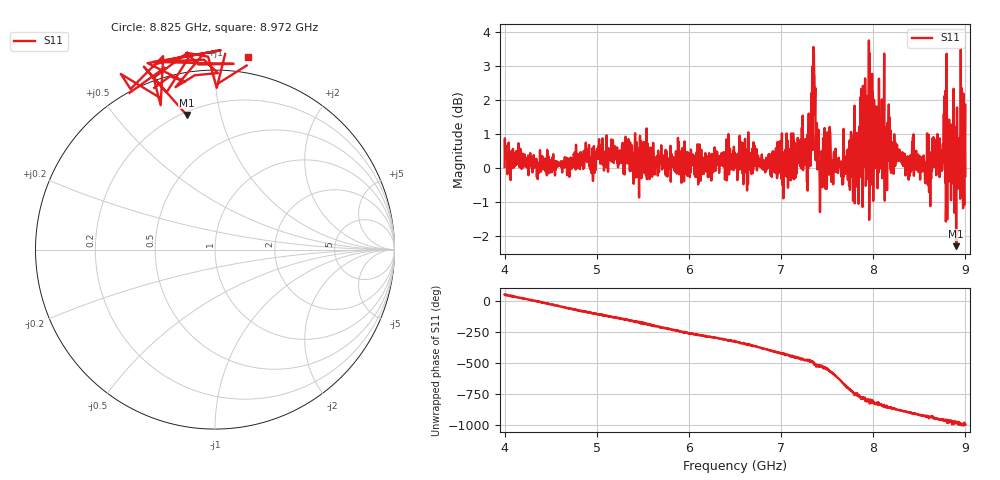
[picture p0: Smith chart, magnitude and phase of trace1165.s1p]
! Created with skrf 1.8.0 (http://scikit-rf.org).
# Hz S RI R 50.0
!freq ReS11 ImS11
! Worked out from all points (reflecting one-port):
!   1601 points, 4 GHz to 9 GHz, reference 50 ohm
!   lowest |S11| = -2.3 dB at 8.9 GHz (marker M1), VSWR 7.59, Z = 10.8 + j39.4 ohm
!   phase of S11 starts at 52 deg and turns -1045 deg over the sweep
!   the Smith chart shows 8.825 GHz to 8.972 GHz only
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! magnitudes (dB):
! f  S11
! 4 GHz  0.0
! 4.625 GHz  -0.1
! 5.25 GHz  0.5
! 5.875 GHz  0.0
! 6.5 GHz  0.0
! 7.031 GHz  -0.1
! 7.125 GHz  0.9
! 7.303 GHz  0.8
! 7.356 GHz  3.4
! 7.372 GHz  2.4
! 7.4 GHz  0.7
! 7.428 GHz  0.0
! 7.509 GHz  0.5
! 7.65 GHz  -0.1
! 7.75 GHz  -0.1
! 7.825 GHz  1.0
! 7.928 GHz  2.1
! 7.969 GHz  1.8
! 7.981 GHz  0.3
! 8.097 GHz  -0.3
! 8.209 GHz  0.7
! 8.375 GHz  0.1
! 8.444 GHz  0.3
! 8.612 GHz  0.2
! 8.819 GHz  0.7
! 8.9 GHz  -2.3
! 8.972 GHz  0.7
! 9 GHz  -0.2
